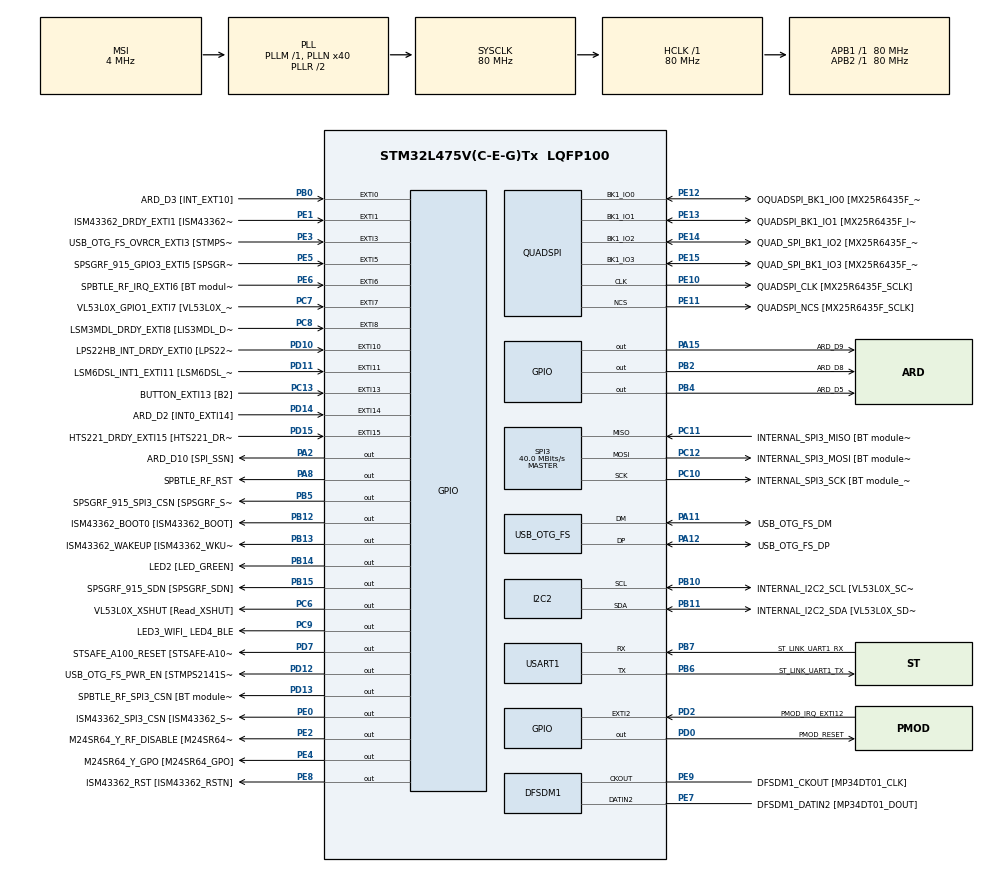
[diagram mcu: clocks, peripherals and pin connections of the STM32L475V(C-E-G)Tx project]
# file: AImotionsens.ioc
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FREERTOS.Queues01=PrintQ,10,uint32_t,0,Dynamic,NULL,NULL
FREERTOS.Tasks01=defaultTask,24,128,StartDefaultTask,Default,NULL,Dynamic,NULL,NULL;printTask,8,128,printData,Default,NULL,Dynamic,NULL,NULL
Mcu.Family=STM32L4
Mcu.Name=STM32L475V(C-E-G)Tx
Mcu.Package=LQFP100
NVIC.EXTI15_10_IRQn=true\:5\:0\:false\:false\:true\:true\:true\:true\:true
NVIC.EXTI9_5_IRQn=true\:5\:0\:false\:false\:true\:true\:true\:true\:true
NVIC.PriorityGroup=NVIC_PRIORITYGROUP_4
PA0.GPIO_Label=ARD_D1 [UART4_TX]
PA0.Signal=UART4_TX
PA1.GPIO_Label=ARD_D0 [UART4_RX]
PA1.Signal=UART4_RX
PA10.GPIO_Label=USB_OTG_FS_ID
PA10.Signal=USB_OTG_FS_ID
PA11.GPIO_Label=USB_OTG_FS_DM
PA11.Mode=Device_Only
PA11.Signal=USB_OTG_FS_DM
PA12.GPIO_Label=USB_OTG_FS_DP
PA12.Mode=Device_Only
PA12.Signal=USB_OTG_FS_DP
PA13\ (JTMS-SWDIO).GPIO_Label=SYS_JTMS_SWDIO
PA13\ (JTMS-SWDIO).Mode=Serial_Wire
PA13\ (JTMS-SWDIO).Signal=SYS_JTMS-SWDIO
PA14\ (JTCK-SWCLK).GPIO_Label=SYS_JTCK_SWCLK
PA14\ (JTCK-SWCLK).Mode=Serial_Wire
PA14\ (JTCK-SWCLK).Signal=SYS_JTCK-SWCLK
PA15\ (JTDI).GPIO_Label=ARD_D9
PA15\ (JTDI).Signal=GPIO_Output
PA2.GPIO_Label=ARD_D10 [SPI_SSN]
PA2.Signal=GPIO_Output
PA3.GPIO_Label=ARD_D4
PA3.Signal=S_TIM2_CH4
PA4.GPIO_Label=ARD_D7
PA4.Signal=ADCx_IN9
PA5.GPIO_Label=ARD_D13 [SPI1_SCK]
PA5.Signal=SPI1_SCK
PA6.GPIO_Label=ARD_D12 [SPI1_MISO]
PA6.Signal=SPI1_MISO
PA7.GPIO_Label=ARD_D11 [SPI1_MOSI]
PA7.Signal=SPI1_MOSI
PA8.GPIO_Label=SPBTLE_RF_RST
PA8.Signal=GPIO_Output
PA9.GPIO_Label=USB_OTG_FS_VBUS [STMPS2141STR_OUT]
PA9.Signal=USB_OTG_FS_VBUS
PB0.GPIO_Label=ARD_D3 [INT_EXT10]
PB0.Signal=GPXTI0
PB1.GPIO_Label=ARD_D6 [ADC1_IN6]
PB1.Signal=ADCx_IN16
PB10.GPIO_Label=INTERNAL_I2C2_SCL [VL53L0X_SCL]
PB10.GPIO_Pu=GPIO_PULLUP
PB10.Mode=I2C
PB10.Signal=I2C2_SCL
PB11.GPIO_Label=INTERNAL_I2C2_SDA [VL53L0X_SDA]
PB11.GPIO_Pu=GPIO_PULLUP
PB11.Mode=I2C
PB11.Signal=I2C2_SDA
PB12.GPIO_Label=ISM43362_BOOT0 [ISM43362_BOOT]
PB12.Signal=GPIO_Output
PB13.GPIO_Label=ISM43362_WAKEUP [ISM43362_WKUP]
PB13.Signal=GPIO_Output
PB14.GPIO_Label=LED2 [LED_GREEN]
PB14.Signal=GPIO_Output
PB15.GPIO_Label=SPSGRF_915_SDN [SPSGRF_SDN]
PB15.Signal=GPIO_Output
PB2.GPIO_Label=ARD_D8
PB2.Signal=GPIO_Output
PB3\ (JTDO-TRACESWO).GPIO_Label=SYS_JTD0_SWO
PB3\ (JTDO-TRACESWO).Signal=SYS_JTDO-SWO
PB4\ (NJTRST).GPIO_Label=ARD_D5
PB4\ (NJTRST).Signal=GPIO_Output
PB5.GPIO_Label=SPSGRF_915_SPI3_CSN [SPSGRF_SPI_CS]
PB5.PinState=GPIO_PIN_SET
PB5.Signal=GPIO_Output
PB6.GPIO_Label=ST_LINK_UART1_TX
PB6.Mode=Asynchronous
PB6.Signal=USART1_TX
PB7.GPIO_Label=ST_LINK_UART1_RX
PB7.Mode=Asynchronous
PB7.Signal=USART1_RX
PB8.GPIO_Label=ARD_D15 [I2C1_SCL]
PB8.Signal=I2C1_SCL
PB9.GPIO_Label=ARD_D14 [I2C1_SDA]
PB9.Signal=I2C1_SDA
PC0.GPIO_Label=ARD_A5 [ADC]
PC0.Signal=ADCx_IN1
PC1.GPIO_Label=ARD_A4 [ADC]
PC1.Signal=ADCx_IN2
PC10.GPIO_Label=INTERNAL_SPI3_SCK [BT module_SPI_SCLK] [ISM43362_SCK]
PC10.Mode=Full_Duplex_Master
PC10.Signal=SPI3_SCK
PC11.GPIO_Label=INTERNAL_SPI3_MISO [BT module_SPI_MISO] [ISM43362_MISO]
PC11.Mode=Full_Duplex_Master
PC11.Signal=SPI3_MISO
PC12.GPIO_Label=INTERNAL_SPI3_MOSI [BT module_SPI_MOSI] [ISM43362_MOSI]
PC12.Mode=Full_Duplex_Master
PC12.Signal=SPI3_MOSI
PC13.GPIO_Label=BUTTON_EXTI13 [B2]
PC13.GPIO_ModeDefaultEXTI=GPIO_MODE_IT_FALLING
PC13.Signal=GPXTI13
PC14-OSC32_IN\ (PC14).Mode=LSE-External-Oscillator
PC14-OSC32_IN\ (PC14).Signal=RCC_OSC32_IN
PC15-OSC32_OUT\ (PC15).Mode=LSE-External-Oscillator
PC15-OSC32_OUT\ (PC15).Signal=RCC_OSC32_OUT
PC2.GPIO_Label=ARD_A3 [ADC]
PC2.Signal=ADCx_IN3
PC3.GPIO_Label=ARD_A2 [ADC]
PC3.Signal=ADCx_IN4
PC4.GPIO_Label=ARD_A1 [ADC]
PC4.Signal=ADCx_IN13
PC5.GPIO_Label=ARD_A0 [ADC]
PC5.Signal=ADCx_IN14
PC6.GPIO_Label=VL53L0X_XSHUT [Read_XSHUT]
PC6.Signal=GPIO_Output
PC7.GPIO_Label=VL53L0X_GPIO1_EXTI7 [VL53L0X_GPIO1]
PC7.Signal=GPXTI7
PC8.GPIO_Label=LSM3MDL_DRDY_EXTI8 [LIS3MDL_DRDY]
PC8.Signal=GPXTI8
PC9.GPIO_Label=LED3_WIFI_ LED4_BLE
PC9.Signal=GPIO_Output
PD0.GPIO_Label=PMOD_RESET
PD0.Signal=GPIO_Output
PD1.GPIO_Label=PMOD_SPI2_SCK
PD1.Signal=SPI2_SCK
PD10.GPIO_Label=LPS22HB_INT_DRDY_EXTI0 [LPS22HB_INT_DRDY] 
PD10.Signal=GPXTI10
PD11.GPIO_Label=LSM6DSL_INT1_EXTI11 [LSM6DSL_INT1]
PD11.Signal=GPXTI11
PD12.GPIO_Label=USB_OTG_FS_PWR_EN [STMPS2141STR_EN]
PD12.Signal=GPIO_Output
PD13.GPIO_Label=SPBTLE_RF_SPI3_CSN [BT module_SPI_CS]
PD13.PinState=GPIO_PIN_SET
PD13.Signal=GPIO_Output
PD14.GPIO_Label=ARD_D2 [INT0_EXTI14]
PD14.Signal=GPXTI14
PD15.GPIO_Label=HTS221_DRDY_EXTI15 [HTS221_DRDY]
PD15.Signal=GPXTI15
PD2.GPIO_Label=PMOD_IRQ_EXTI12
PD2.Signal=GPXTI2
PD3.GPIO_Label=PMOD_UART2_CTS
PD3.Signal=USART2_CTS
PD4.GPIO_Label=PMOD_UART2_RTS
PD4.Signal=USART2_RTS
PD5.GPIO_Label=PMOD_UART2_TX
PD5.Signal=USART2_TX
PD6.GPIO_Label=PMOD_UART2_RX
PD6.Signal=USART2_RX
PD7.GPIO_Label=STSAFE_A100_RESET [STSAFE-A100_RESET]
PD7.Signal=GPIO_Output
PD8.GPIO_Label=INTERNAL_UART3_TX [ISM43362_RX]
PD8.Signal=USART3_TX
PD9.GPIO_Label=INTERNAL_UART3_RX [ISM43362_TX]
PD9.Signal=USART3_RX
PE0.GPIO_Label=ISM43362_SPI3_CSN [ISM43362_SSN]
PE0.PinState=GPIO_PIN_SET
PE0.Signal=GPIO_Output
PE1.GPIO_Label=ISM43362_DRDY_EXTI1 [ISM43362_DATARDY]
PE1.Signal=GPXTI1
PE10.GPIO_Label=QUADSPI_CLK [MX25R6435F_SCLK]
PE10.Mode=Single Bank
PE10.Signal=QUADSPI_CLK
PE11.GPIO_Label=QUADSPI_NCS [MX25R6435F_SCLK]
PE11.Mode=Single Bank
PE11.Signal=QUADSPI_NCS
PE12.GPIO_Label=OQUADSPI_BK1_IO0 [MX25R6435F_IO0]
PE12.Mode=Single Bank
PE12.Signal=QUADSPI_BK1_IO0
PE13.GPIO_Label=QUADSPI_BK1_IO1 [MX25R6435F_IO1]
PE13.Mode=Single Bank
PE13.Signal=QUADSPI_BK1_IO1
PE14.GPIO_Label=QUAD_SPI_BK1_IO2 [MX25R6435F_IO2]
PE14.Mode=Single Bank
PE14.Signal=QUADSPI_BK1_IO2
PE15.GPIO_Label=QUAD_SPI_BK1_IO3 [MX25R6435F_IO3]
PE15.Mode=Single Bank
PE15.Signal=QUADSPI_BK1_IO3
PE2.GPIO_Label=M24SR64_Y_RF_DISABLE [M24SR64_RFDIS]
PE2.Signal=GPIO_Output
PE3.GPIO_Label=USB_OTG_FS_OVRCR_EXTI3 [STMPS2141STR_FAULT]
PE3.Signal=GPXTI3
PE4.GPIO_Label=M24SR64_Y_GPO [M24SR64_GPO]
PE4.Signal=GPIO_Output
PE5.GPIO_Label=SPSGRF_915_GPIO3_EXTI5 [SPSGRF_GPIO_3]
PE5.Signal=GPXTI5
PE6.GPIO_Label=SPBTLE_RF_IRQ_EXTI6 [BT module_SPI_IRQ]
PE6.Signal=GPXTI6
PE7.GPIO_Label=DFSDM1_DATIN2 [MP34DT01_DOUT]
PE7.Signal=S_DATAIN2DFSDM1
PE8.GPIO_Label=ISM43362_RST [ISM43362_RSTN]
PE8.Signal=GPIO_Output
PE9.GPIO_Label=DFSDM1_CKOUT [MP34DT01_CLK]
PE9.Signal=S_CKOUTDFSDM1
ProjectManager.HeapSize=0x200
ProjectManager.StackSize=0x400
ProjectManager.TargetToolchain=STM32CubeIDE
QUADSPI.ClockPrescaler=2
QUADSPI.FifoThreshold=4
QUADSPI.FlashSize=23
QUADSPI.SampleShifting=QSPI_SAMPLE_SHIFTING_HALFCYCLE
RCC.ADCFreq_Value=48000000
RCC.AHBFreq_Value=80000000
RCC.APB1Freq_Value=80000000
RCC.APB1TimFreq_Value=80000000
RCC.APB2Freq_Value=80000000
RCC.APB2TimFreq_Value=80000000
RCC.CortexFreq_Value=80000000
RCC.HCLKFreq_Value=80000000
RCC.HSE_VALUE=8000000
RCC.HSI_VALUE=16000000
RCC.MSI_VALUE=4000000
RCC.PLLN=40
RCC.PLLSAI1N=24
RCC.SYSCLKFreq_VALUE=80000000
RCC.SYSCLKSource=RCC_SYSCLKSOURCE_PLLCLK
RCC.USBFreq_Value=48000000
RCC.VCOOutputFreq_Value=160000000
SH.ADCx_IN1.0=ADC1_IN1
SH.ADCx_IN13.0=ADC1_IN13
SH.ADCx_IN14.0=ADC1_IN14
SH.ADCx_IN16.0=ADC1_IN16
SH.ADCx_IN2.0=ADC1_IN2
SH.ADCx_IN3.0=ADC1_IN3
SH.ADCx_IN4.0=ADC1_IN4
SH.ADCx_IN9.0=ADC1_IN9
SH.S_CKOUTDFSDM1.0=DFSDM1_CKOUT,CKOUT
SH.S_CKOUTDFSDM1.1=DFSDM1_CKOUT,PDM_SPI_Input_from_ch12_and_Internal_Clock
SH.S_DATAIN2DFSDM1.0=DFSDM1_DATIN2,PDM_SPI_Input_from_ch12_and_Internal_Clock
SH.S_TIM2_CH4.0=TIM2_CH4
SPI3.CalculateBaudRate=40.0 MBits/s
SPI3.Direction=SPI_DIRECTION_2LINES
SPI3.Mode=SPI_MODE_MASTER
SPI3.VirtualType=VM_MASTER
STMicroelectronics.X-CUBE-AI.7.2.0.ActivationBufferSizeList=1708
STMicroelectronics.X-CUBE-AI.7.2.0.ActivationBuffers=pool0
STMicroelectronics.X-CUBE-AI.7.2.0.ActivationNames=pool0
STMicroelectronics.X-CUBE-AI.7.2.0.ActivationSizes=AI_NETWORK_DATA_ACTIVATION_1_SIZE
STMicroelectronics.X-CUBE-AI.7.2.0.HeapSize=0x800
STMicroelectronics.X-CUBE-AI.7.2.0.InternalRamActivationBufferMaxSize=AI_NETWORK_DATA_ACTIVATIONS_SIZE
STMicroelectronics.X-CUBE-AI.7.2.0.LatestDirectoryUsed-ffb35ee00022bfd31e505e046ba00e29fef1f60ad6f9fc7e8e854b788d2a41cf=C\:\\Users\\School\\Downloads
STMicroelectronics.X-CUBE-AI.7.2.0.MaximumNumberOfInputLayer=1
STMicroelectronics.X-CUBE-AI.7.2.0.MaximumNumberOfOutputLayer=1
STMicroelectronics.X-CUBE-AI.7.2.0.MaximumSizeOfInputLayer=1
STMicroelectronics.X-CUBE-AI.7.2.0.MaximumSizeOfOutputLayer=1
STMicroelectronics.X-CUBE-AI.7.2.0.ModelActualCompression-ffb35ee00022bfd31e505e046ba00e29fef1f60ad6f9fc7e8e854b788d2a41cf=0.0
STMicroelectronics.X-CUBE-AI.7.2.0.ModelCompression-ffb35ee00022bfd31e505e046ba00e29fef1f60ad6f9fc7e8e854b788d2a41cf=None
STMicroelectronics.X-CUBE-AI.7.2.0.ModelFlashOccupation-ffb35ee00022bfd31e505e046ba00e29fef1f60ad6f9fc7e8e854b788d2a41cf=48300
STMicroelectronics.X-CUBE-AI.7.2.0.ModelHashList=ffb35ee00022bfd31e505e046ba00e29fef1f60ad6f9fc7e8e854b788d2a41cf
STMicroelectronics.X-CUBE-AI.7.2.0.ModelKind-ffb35ee00022bfd31e505e046ba00e29fef1f60ad6f9fc7e8e854b788d2a41cf=KERAS
STMicroelectronics.X-CUBE-AI.7.2.0.ModelMacc-ffb35ee00022bfd31e505e046ba00e29fef1f60ad6f9fc7e8e854b788d2a41cf=24120
STMicroelectronics.X-CUBE-AI.7.2.0.ModelName-ffb35ee00022bfd31e505e046ba00e29fef1f60ad6f9fc7e8e854b788d2a41cf=network
STMicroelectronics.X-CUBE-AI.7.2.0.ModelNameList=network
STMicroelectronics.X-CUBE-AI.7.2.0.ModelRamOccupation-ffb35ee00022bfd31e505e046ba00e29fef1f60ad6f9fc7e8e854b788d2a41cf=1708
STMicroelectronics.X-CUBE-AI.7.2.0.ModelStructureFile-ffb35ee00022bfd31e505e046ba00e29fef1f60ad6f9fc7e8e854b788d2a41cf=C\:\\Users\\School\\Downloads\\model.h5
STMicroelectronics.X-CUBE-AI.7.2.0.ModelType-ffb35ee00022bfd31e505e046ba00e29fef1f60ad6f9fc7e8e854b788d2a41cf=Saved model
STMicroelectronics.X-CUBE-AI.7.2.0.ReadyForCodeGeneration=true
STMicroelectronics.X-CUBE-AI.7.2.0.StackSize=0x800
STMicroelectronics.X-CUBE-AI.7.2.0.WorkingBufferStartAddrList=0xFFFFFFFF
STMicroelectronics.X-CUBE-AI.7.2.0.XAaCUBEAaAICcArtificialOoIntelligenceJjCore=true
STMicroelectronics.X-CUBE-AI.7.2.0.copyWeightToRam=false
STMicroelectronics.X-CUBE-AI.7.2.0.customLayerConfigEnabled=false
STMicroelectronics.X-CUBE-AI.7.2.0.noOnnxIoTranspose=false
STMicroelectronics.X-CUBE-AI.7.2.0.useInputAllocation=true
STMicroelectronics.X-CUBE-AI.7.2.0.useOutputAllocation=true
USART1.VirtualMode-Asynchronous=VM_ASYNC
USB_OTG_FS.VirtualMode=Device_Only
VP_CRC_VS_CRC.Mode=CRC_Activate
VP_FREERTOS_VS_CMSIS_V2.Mode=CMSIS_V2
VP_STMicroelectronics.X-CUBE-AI_VS_ArtificialOoIntelligenceJjXAaCUBEAaAI_7.2.0.Mode=ArtificialOoIntelligenceJjXAaCUBEAaAI
board=B-L475E-IOT01A1

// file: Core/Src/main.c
/* USER CODE BEGIN Header */
/**
  ******************************************************************************
  * @file           : main.c
  * @brief          : Main program body
  ******************************************************************************
  * @attention
  *
  * Copyright (c) 2024 STMicroelectronics.
  * All rights reserved.
  *
  * This software is licensed under terms that can be found in the LICENSE file
  * in the root directory of this software component.
  * If no LICENSE file comes with this software, it is provided AS-IS.
  *
  ******************************************************************************
  */
/* USER CODE END Header */
#include "main.h"
#include "cmsis_os.h"

/* USER CODE BEGIN Includes */

#include "ai_platform.h"
#include "network.h"
#include "network_data.h"
#include <stdio.h>
#include "../../Drivers/B-L475E-IOT01/stm32l475e_iot01_accelero.h"
/* USER CODE END Includes */

CRC_HandleTypeDef hcrc;

DFSDM_Channel_HandleTypeDef hdfsdm1_channel1;

I2C_HandleTypeDef hi2c2;

QSPI_HandleTypeDef hqspi;

SPI_HandleTypeDef hspi3;

UART_HandleTypeDef huart1;

PCD_HandleTypeDef hpcd_USB_OTG_FS;

/* Definitions for defaultTask */
osThreadId_t defaultTaskHandle;
const osThreadAttr_t defaultTask_attributes = {
  .name = "defaultTask",
  .stack_size = 128 * 4,
  .priority = (osPriority_t) osPriorityNormal,
};
/* Definitions for printTask */
osThreadId_t printTaskHandle;
const osThreadAttr_t printTask_attributes = {
  .name = "printTask",
  .stack_size = 128 * 4,
  .priority = (osPriority_t) osPriorityLow,
};
/* Definitions for PrintQ */
osMessageQueueId_t PrintQHandle;
const osMessageQueueAttr_t PrintQ_attributes = {
  .name = "PrintQ"
};
/* USER CODE BEGIN PV */
volatile uint32_t dataRdyIntReceived;
ai_handle network;
float aiInData[AI_NETWORK_IN_1_SIZE];
float aiOutData[AI_NETWORK_OUT_1_SIZE];
ai_u8 activations[AI_NETWORK_DATA_ACTIVATIONS_SIZE];
const char* activities[AI_NETWORK_OUT_1_SIZE] = {
  "stationary", "walking", "running"
};
ai_buffer * ai_input;
ai_buffer * ai_output;
uint16_t acc_value[3] = {0, 0, 0};
uint32_t write_index = 0;
uint32_t class;
/* USER CODE END PV */

void SystemClock_Config(void);
static void MX_GPIO_Init(void);
static void MX_DFSDM1_Init(void);
static void MX_I2C2_Init(void);
static void MX_QUADSPI_Init(void);
static void MX_SPI3_Init(void);
static void MX_USART1_UART_Init(void);
static void MX_USB_OTG_FS_PCD_Init(void);
static void MX_CRC_Init(void);
void StartDefaultTask(void *argument);
void printData(void *argument);

/* USER CODE BEGIN PFP */
static void AI_Init(void);
static void AI_Run(float *pIn, float *pOut);
static uint32_t argmax(const float * values, uint32_t len);
/* USER CODE END PFP */

/* USER CODE BEGIN 0 */
int _write(int file, char *ptr, int len) {

 for (int i = 0; i < len; i++) {

 ITM_SendChar((*ptr++));

 }

 return len;

}
/* USER CODE END 0 */

int main(void)
{

  /* USER CODE BEGIN 1 */
	  uint32_t write_index = 0;
  /* USER CODE END 1 */

  /* MCU Configuration--------------------------------------------------------*/

  /* Reset of all peripherals, Initializes the Flash interface and the Systick. */
  HAL_Init();

  /* Configure the system clock */
  SystemClock_Config();

  /* Initialize all configured peripherals */
  MX_GPIO_Init();
  MX_DFSDM1_Init();
  MX_I2C2_Init();
  MX_QUADSPI_Init();
  MX_SPI3_Init();
  MX_USART1_UART_Init();
  MX_USB_OTG_FS_PCD_Init();
  MX_CRC_Init();
  /* USER CODE BEGIN 2 */

  dataRdyIntReceived = 0;
    uint8_t msg8[] = "=====> Accelerometer sensor LSM6DSL initialized \r\n ";

      AI_Init();
      BSP_ACCELERO_Init();
      HAL_UART_Transmit(&huart1,msg8,sizeof(msg8),1000);
  /* USER CODE END 2 */

  /* Init scheduler */
  osKernelInitialize();

  /* Create the queue(s) */
  /* creation of PrintQ */
  PrintQHandle = osMessageQueueNew (10, sizeof(uint32_t), &PrintQ_attributes);

  /* Create the thread(s) */
  /* creation of defaultTask */
  defaultTaskHandle = osThreadNew(StartDefaultTask, NULL, &defaultTask_attributes);

  /* creation of printTask */
  printTaskHandle = osThreadNew(printData, NULL, &printTask_attributes);

  /* Start scheduler */
  osKernelStart();

  /* We should never get here as control is now taken by the scheduler */

  /* Infinite loop */
  while (1)
  {

  }
}

void SystemClock_Config(void)
{
  RCC_OscInitTypeDef RCC_OscInitStruct = {0};
  RCC_ClkInitTypeDef RCC_ClkInitStruct = {0};

  /** Configure the main internal regulator output voltage
  */
  if (HAL_PWREx_ControlVoltageScaling(PWR_REGULATOR_VOLTAGE_SCALE1) != HAL_OK)
  {
    Error_Handler();
  }

  /** Configure LSE Drive Capability
  */
  HAL_PWR_EnableBkUpAccess();
  __HAL_RCC_LSEDRIVE_CONFIG(RCC_LSEDRIVE_LOW);

  /** Initializes the RCC Oscillators according to the specified parameters
  * in the RCC_OscInitTypeDef structure.
  */
  RCC_OscInitStruct.OscillatorType = RCC_OSCILLATORTYPE_LSE|RCC_OSCILLATORTYPE_MSI;
  RCC_OscInitStruct.LSEState = RCC_LSE_ON;
  RCC_OscInitStruct.MSIState = RCC_MSI_ON;
  RCC_OscInitStruct.MSICalibrationValue = 0;
  RCC_OscInitStruct.MSIClockRange = RCC_MSIRANGE_6;
  RCC_OscInitStruct.PLL.PLLState = RCC_PLL_ON;
  RCC_OscInitStruct.PLL.PLLSource = RCC_PLLSOURCE_MSI;
  RCC_OscInitStruct.PLL.PLLM = 1;
  RCC_OscInitStruct.PLL.PLLN = 40;
  RCC_OscInitStruct.PLL.PLLP = RCC_PLLP_DIV7;
  RCC_OscInitStruct.PLL.PLLQ = RCC_PLLQ_DIV2;
  RCC_OscInitStruct.PLL.PLLR = RCC_PLLR_DIV2;
  if (HAL_RCC_OscConfig(&RCC_OscInitStruct) != HAL_OK)
  {
    Error_Handler();
  }

  /** Initializes the CPU, AHB and APB buses clocks
  */
  RCC_ClkInitStruct.ClockType = RCC_CLOCKTYPE_HCLK|RCC_CLOCKTYPE_SYSCLK
                              |RCC_CLOCKTYPE_PCLK1|RCC_CLOCKTYPE_PCLK2;
  RCC_ClkInitStruct.SYSCLKSource = RCC_SYSCLKSOURCE_PLLCLK;
  RCC_ClkInitStruct.AHBCLKDivider = RCC_SYSCLK_DIV1;
  RCC_ClkInitStruct.APB1CLKDivider = RCC_HCLK_DIV1;
  RCC_ClkInitStruct.APB2CLKDivider = RCC_HCLK_DIV1;

  if (HAL_RCC_ClockConfig(&RCC_ClkInitStruct, FLASH_LATENCY_4) != HAL_OK)
  {
    Error_Handler();
  }

  /** Enable MSI Auto calibration
  */
  HAL_RCCEx_EnableMSIPLLMode();
}

static void MX_CRC_Init(void)
{

  hcrc.Instance = CRC;
  hcrc.Init.DefaultPolynomialUse = DEFAULT_POLYNOMIAL_ENABLE;
  hcrc.Init.DefaultInitValueUse = DEFAULT_INIT_VALUE_ENABLE;
  hcrc.Init.InputDataInversionMode = CRC_INPUTDATA_INVERSION_NONE;
  hcrc.Init.OutputDataInversionMode = CRC_OUTPUTDATA_INVERSION_DISABLE;
  hcrc.InputDataFormat = CRC_INPUTDATA_FORMAT_BYTES;
  if (HAL_CRC_Init(&hcrc) != HAL_OK)
  {
    Error_Handler();
  }

}

static void MX_DFSDM1_Init(void)
{

  hdfsdm1_channel1.Instance = DFSDM1_Channel1;
  hdfsdm1_channel1.Init.OutputClock.Activation = ENABLE;
  hdfsdm1_channel1.Init.OutputClock.Selection = DFSDM_CHANNEL_OUTPUT_CLOCK_SYSTEM;
  hdfsdm1_channel1.Init.OutputClock.Divider = 2;
  hdfsdm1_channel1.Init.Input.Multiplexer = DFSDM_CHANNEL_EXTERNAL_INPUTS;
  hdfsdm1_channel1.Init.Input.DataPacking = DFSDM_CHANNEL_STANDARD_MODE;
  hdfsdm1_channel1.Init.Input.Pins = DFSDM_CHANNEL_FOLLOWING_CHANNEL_PINS;
  hdfsdm1_channel1.Init.SerialInterface.Type = DFSDM_CHANNEL_SPI_RISING;
  hdfsdm1_channel1.Init.SerialInterface.SpiClock = DFSDM_CHANNEL_SPI_CLOCK_INTERNAL;
  hdfsdm1_channel1.Init.Awd.FilterOrder = DFSDM_CHANNEL_FASTSINC_ORDER;
  hdfsdm1_channel1.Init.Awd.Oversampling = 1;
  hdfsdm1_channel1.Init.Offset = 0;
  hdfsdm1_channel1.Init.RightBitShift = 0x00;
  if (HAL_DFSDM_ChannelInit(&hdfsdm1_channel1) != HAL_OK)
  {
    Error_Handler();
  }

}

static void MX_I2C2_Init(void)
{

  hi2c2.Instance = I2C2;
  hi2c2.Init.Timing = 0x00000E14;
  hi2c2.Init.OwnAddress1 = 0;
  hi2c2.Init.AddressingMode = I2C_ADDRESSINGMODE_7BIT;
  hi2c2.Init.DualAddressMode = I2C_DUALADDRESS_DISABLE;
  hi2c2.Init.OwnAddress2 = 0;
  hi2c2.Init.OwnAddress2Masks = I2C_OA2_NOMASK;
  hi2c2.Init.GeneralCallMode = I2C_GENERALCALL_DISABLE;
  hi2c2.Init.NoStretchMode = I2C_NOSTRETCH_DISABLE;
  if (HAL_I2C_Init(&hi2c2) != HAL_OK)
  {
    Error_Handler();
  }

  /** Configure Analogue filter
  */
  if (HAL_I2CEx_ConfigAnalogFilter(&hi2c2, I2C_ANALOGFILTER_ENABLE) != HAL_OK)
  {
    Error_Handler();
  }

  /** Configure Digital filter
  */
  if (HAL_I2CEx_ConfigDigitalFilter(&hi2c2, 0) != HAL_OK)
  {
    Error_Handler();
  }

}

static void MX_QUADSPI_Init(void)
{

  /* QUADSPI parameter configuration*/
  hqspi.Instance = QUADSPI;
  hqspi.Init.ClockPrescaler = 2;
  hqspi.Init.FifoThreshold = 4;
  hqspi.Init.SampleShifting = QSPI_SAMPLE_SHIFTING_HALFCYCLE;
  hqspi.Init.FlashSize = 23;
  hqspi.Init.ChipSelectHighTime = QSPI_CS_HIGH_TIME_1_CYCLE;
  hqspi.Init.ClockMode = QSPI_CLOCK_MODE_0;
  if (HAL_QSPI_Init(&hqspi) != HAL_OK)
  {
    Error_Handler();
  }

}

static void MX_SPI3_Init(void)
{

  /* SPI3 parameter configuration*/
  hspi3.Instance = SPI3;
  hspi3.Init.Mode = SPI_MODE_MASTER;
  hspi3.Init.Direction = SPI_DIRECTION_2LINES;
  hspi3.Init.DataSize = SPI_DATASIZE_4BIT;
  hspi3.Init.CLKPolarity = SPI_POLARITY_LOW;
  hspi3.Init.CLKPhase = SPI_PHASE_1EDGE;
  hspi3.Init.NSS = SPI_NSS_SOFT;
  hspi3.Init.BaudRatePrescaler = SPI_BAUDRATEPRESCALER_2;
  hspi3.Init.FirstBit = SPI_FIRSTBIT_MSB;
  hspi3.Init.TIMode = SPI_TIMODE_DISABLE;
  hspi3.Init.CRCCalculation = SPI_CRCCALCULATION_DISABLE;
  hspi3.Init.CRCPolynomial = 7;
  hspi3.Init.CRCLength = SPI_CRC_LENGTH_DATASIZE;
  hspi3.Init.NSSPMode = SPI_NSS_PULSE_ENABLE;
  if (HAL_SPI_Init(&hspi3) != HAL_OK)
  {
    Error_Handler();
  }

}

static void MX_USART1_UART_Init(void)
{

  huart1.Instance = USART1;
  huart1.Init.BaudRate = 115200;
  huart1.Init.WordLength = UART_WORDLENGTH_8B;
  huart1.Init.StopBits = UART_STOPBITS_1;
  huart1.Init.Parity = UART_PARITY_NONE;
  huart1.Init.Mode = UART_MODE_TX_RX;
  huart1.Init.HwFlowCtl = UART_HWCONTROL_NONE;
  huart1.Init.OverSampling = UART_OVERSAMPLING_16;
  huart1.Init.OneBitSampling = UART_ONE_BIT_SAMPLE_DISABLE;
  huart1.AdvancedInit.AdvFeatureInit = UART_ADVFEATURE_NO_INIT;
  if (HAL_UART_Init(&huart1) != HAL_OK)
  {
    Error_Handler();
  }

}

static void MX_USB_OTG_FS_PCD_Init(void)
{

  hpcd_USB_OTG_FS.Instance = USB_OTG_FS;
  hpcd_USB_OTG_FS.Init.dev_endpoints = 6;
  hpcd_USB_OTG_FS.Init.speed = PCD_SPEED_FULL;
  hpcd_USB_OTG_FS.Init.phy_itface = PCD_PHY_EMBEDDED;
  hpcd_USB_OTG_FS.Init.Sof_enable = DISABLE;
  hpcd_USB_OTG_FS.Init.low_power_enable = DISABLE;
  hpcd_USB_OTG_FS.Init.lpm_enable = DISABLE;
  hpcd_USB_OTG_FS.Init.battery_charging_enable = DISABLE;
  hpcd_USB_OTG_FS.Init.use_dedicated_ep1 = DISABLE;
  hpcd_USB_OTG_FS.Init.vbus_sensing_enable = DISABLE;
  if (HAL_PCD_Init(&hpcd_USB_OTG_FS) != HAL_OK)
  {
    Error_Handler();
  }

}

static void MX_GPIO_Init(void)
{
  GPIO_InitTypeDef GPIO_InitStruct = {0};

  /* GPIO Ports Clock Enable */
  __HAL_RCC_GPIOE_CLK_ENABLE();
  __HAL_RCC_GPIOC_CLK_ENABLE();
  __HAL_RCC_GPIOA_CLK_ENABLE();
  __HAL_RCC_GPIOB_CLK_ENABLE();
  __HAL_RCC_GPIOD_CLK_ENABLE();

  /*Configure GPIO pin Output Level */
  HAL_GPIO_WritePin(GPIOE, M24SR64_Y_RF_DISABLE_Pin|M24SR64_Y_GPO_Pin|ISM43362_RST_Pin, GPIO_PIN_RESET);

  /*Configure GPIO pin Output Level */
  HAL_GPIO_WritePin(GPIOA, ARD_D10_Pin|SPBTLE_RF_RST_Pin|ARD_D9_Pin, GPIO_PIN_RESET);

  /*Configure GPIO pin Output Level */
  HAL_GPIO_WritePin(GPIOB, ARD_D8_Pin|ISM43362_BOOT0_Pin|ISM43362_WAKEUP_Pin|LED2_Pin
                          |SPSGRF_915_SDN_Pin|ARD_D5_Pin, GPIO_PIN_RESET);

  /*Configure GPIO pin Output Level */
  HAL_GPIO_WritePin(GPIOD, USB_OTG_FS_PWR_EN_Pin|PMOD_RESET_Pin|STSAFE_A100_RESET_Pin, GPIO_PIN_RESET);

  /*Configure GPIO pin Output Level */
  HAL_GPIO_WritePin(SPBTLE_RF_SPI3_CSN_GPIO_Port, SPBTLE_RF_SPI3_CSN_Pin, GPIO_PIN_SET);

  /*Configure GPIO pin Output Level */
  HAL_GPIO_WritePin(GPIOC, VL53L0X_XSHUT_Pin|LED3_WIFI__LED4_BLE_Pin, GPIO_PIN_RESET);

  /*Configure GPIO pin Output Level */
  HAL_GPIO_WritePin(SPSGRF_915_SPI3_CSN_GPIO_Port, SPSGRF_915_SPI3_CSN_Pin, GPIO_PIN_SET);

  /*Configure GPIO pin Output Level */
  HAL_GPIO_WritePin(ISM43362_SPI3_CSN_GPIO_Port, ISM43362_SPI3_CSN_Pin, GPIO_PIN_SET);

  /*Configure GPIO pins : M24SR64_Y_RF_DISABLE_Pin M24SR64_Y_GPO_Pin ISM43362_RST_Pin ISM43362_SPI3_CSN_Pin */
  GPIO_InitStruct.Pin = M24SR64_Y_RF_DISABLE_Pin|M24SR64_Y_GPO_Pin|ISM43362_RST_Pin|ISM43362_SPI3_CSN_Pin;
  GPIO_InitStruct.Mode = GPIO_MODE_OUTPUT_PP;
  GPIO_InitStruct.Pull = GPIO_NOPULL;
  GPIO_InitStruct.Speed = GPIO_SPEED_FREQ_LOW;
  HAL_GPIO_Init(GPIOE, &GPIO_InitStruct);

  /*Configure GPIO pins : USB_OTG_FS_OVRCR_EXTI3_Pin SPSGRF_915_GPIO3_EXTI5_Pin SPBTLE_RF_IRQ_EXTI6_Pin ISM43362_DRDY_EXTI1_Pin */
  GPIO_InitStruct.Pin = USB_OTG_FS_OVRCR_EXTI3_Pin|SPSGRF_915_GPIO3_EXTI5_Pin|SPBTLE_RF_IRQ_EXTI6_Pin|ISM43362_DRDY_EXTI1_Pin;
  GPIO_InitStruct.Mode = GPIO_MODE_IT_RISING;
  GPIO_InitStruct.Pull = GPIO_NOPULL;
  HAL_GPIO_Init(GPIOE, &GPIO_InitStruct);

  /*Configure GPIO pin : BUTTON_EXTI13_Pin */
  GPIO_InitStruct.Pin = BUTTON_EXTI13_Pin;
  GPIO_InitStruct.Mode = GPIO_MODE_IT_FALLING;
  GPIO_InitStruct.Pull = GPIO_NOPULL;
  HAL_GPIO_Init(BUTTON_EXTI13_GPIO_Port, &GPIO_InitStruct);

  /*Configure GPIO pins : ARD_A5_Pin ARD_A4_Pin ARD_A3_Pin ARD_A2_Pin
                           ARD_A1_Pin ARD_A0_Pin */
  GPIO_InitStruct.Pin = ARD_A5_Pin|ARD_A4_Pin|ARD_A3_Pin|ARD_A2_Pin
                          |ARD_A1_Pin|ARD_A0_Pin;
  GPIO_InitStruct.Mode = GPIO_MODE_ANALOG_ADC_CONTROL;
  GPIO_InitStruct.Pull = GPIO_NOPULL;
  HAL_GPIO_Init(GPIOC, &GPIO_InitStruct);

  /*Configure GPIO pins : ARD_D1_Pin ARD_D0_Pin */
  GPIO_InitStruct.Pin = ARD_D1_Pin|ARD_D0_Pin;
  GPIO_InitStruct.Mode = GPIO_MODE_AF_PP;
  GPIO_InitStruct.Pull = GPIO_NOPULL;
  GPIO_InitStruct.Speed = GPIO_SPEED_FREQ_VERY_HIGH;
  GPIO_InitStruct.Alternate = GPIO_AF8_UART4;
  HAL_GPIO_Init(GPIOA, &GPIO_InitStruct);

  /*Configure GPIO pins : ARD_D10_Pin SPBTLE_RF_RST_Pin ARD_D9_Pin */
  GPIO_InitStruct.Pin = ARD_D10_Pin|SPBTLE_RF_RST_Pin|ARD_D9_Pin;
  GPIO_InitStruct.Mode = GPIO_MODE_OUTPUT_PP;
  GPIO_InitStruct.Pull = GPIO_NOPULL;
  GPIO_InitStruct.Speed = GPIO_SPEED_FREQ_LOW;
  HAL_GPIO_Init(GPIOA, &GPIO_InitStruct);

  /*Configure GPIO pin : ARD_D4_Pin */
  GPIO_InitStruct.Pin = ARD_D4_Pin;
  GPIO_InitStruct.Mode = GPIO_MODE_AF_PP;
  GPIO_InitStruct.Pull = GPIO_NOPULL;
  GPIO_InitStruct.Speed = GPIO_SPEED_FREQ_LOW;
  GPIO_InitStruct.Alternate = GPIO_AF1_TIM2;
  HAL_GPIO_Init(ARD_D4_GPIO_Port, &GPIO_InitStruct);

  /*Configure GPIO pin : ARD_D7_Pin */
  GPIO_InitStruct.Pin = ARD_D7_Pin;
  GPIO_InitStruct.Mode = GPIO_MODE_ANALOG_ADC_CONTROL;
  GPIO_InitStruct.Pull = GPIO_NOPULL;
  HAL_GPIO_Init(ARD_D7_GPIO_Port, &GPIO_InitStruct);

  /*Configure GPIO pins : ARD_D13_Pin ARD_D12_Pin ARD_D11_Pin */
  GPIO_InitStruct.Pin = ARD_D13_Pin|ARD_D12_Pin|ARD_D11_Pin;
  GPIO_InitStruct.Mode = GPIO_MODE_AF_PP;
  GPIO_InitStruct.Pull = GPIO_NOPULL;
  GPIO_InitStruct.Speed = GPIO_SPEED_FREQ_VERY_HIGH;
  GPIO_InitStruct.Alternate = GPIO_AF5_SPI1;
  HAL_GPIO_Init(GPIOA, &GPIO_InitStruct);

  /*Configure GPIO pin : ARD_D3_Pin */
  GPIO_InitStruct.Pin = ARD_D3_Pin;
  GPIO_InitStruct.Mode = GPIO_MODE_IT_RISING;
  GPIO_InitStruct.Pull = GPIO_NOPULL;
  HAL_GPIO_Init(ARD_D3_GPIO_Port, &GPIO_InitStruct);

  /*Configure GPIO pin : ARD_D6_Pin */
  GPIO_InitStruct.Pin = ARD_D6_Pin;
  GPIO_InitStruct.Mode = GPIO_MODE_ANALOG_ADC_CONTROL;
  GPIO_InitStruct.Pull = GPIO_NOPULL;
  HAL_GPIO_Init(ARD_D6_GPIO_Port, &GPIO_InitStruct);

  /*Configure GPIO pins : ARD_D8_Pin ISM43362_BOOT0_Pin ISM43362_WAKEUP_Pin LED2_Pin
                           SPSGRF_915_SDN_Pin ARD_D5_Pin SPSGRF_915_SPI3_CSN_Pin */
  GPIO_InitStruct.Pin = ARD_D8_Pin|ISM43362_BOOT0_Pin|ISM43362_WAKEUP_Pin|LED2_Pin
                          |SPSGRF_915_SDN_Pin|ARD_D5_Pin|SPSGRF_915_SPI3_CSN_Pin;
  GPIO_InitStruct.Mode = GPIO_MODE_OUTPUT_PP;
  GPIO_InitStruct.Pull = GPIO_NOPULL;
  GPIO_InitStruct.Speed = GPIO_SPEED_FREQ_LOW;
  HAL_GPIO_Init(GPIOB, &GPIO_InitStruct);

  /*Configure GPIO pins : INTERNAL_UART3_TX_Pin INTERNAL_UART3_RX_Pin */
  GPIO_InitStruct.Pin = INTERNAL_UART3_TX_Pin|INTERNAL_UART3_RX_Pin;
  GPIO_InitStruct.Mode = GPIO_MODE_AF_PP;
  GPIO_InitStruct.Pull = GPIO_NOPULL;
  GPIO_InitStruct.Speed = GPIO_SPEED_FREQ_VERY_HIGH;
  GPIO_InitStruct.Alternate = GPIO_AF7_USART3;
  HAL_GPIO_Init(GPIOD, &GPIO_InitStruct);

  /*Configure GPIO pins : LPS22HB_INT_DRDY_EXTI0_Pin LSM6DSL_INT1_EXTI11_Pin ARD_D2_Pin HTS221_DRDY_EXTI15_Pin
                           PMOD_IRQ_EXTI12_Pin */
  GPIO_InitStruct.Pin = LPS22HB_INT_DRDY_EXTI0_Pin|LSM6DSL_INT1_EXTI11_Pin|ARD_D2_Pin|HTS221_DRDY_EXTI15_Pin
                          |PMOD_IRQ_EXTI12_Pin;
  GPIO_InitStruct.Mode = GPIO_MODE_IT_RISING;
  GPIO_InitStruct.Pull = GPIO_NOPULL;
  HAL_GPIO_Init(GPIOD, &GPIO_InitStruct);

  /*Configure GPIO pins : USB_OTG_FS_PWR_EN_Pin SPBTLE_RF_SPI3_CSN_Pin PMOD_RESET_Pin STSAFE_A100_RESET_Pin */
  GPIO_InitStruct.Pin = USB_OTG_FS_PWR_EN_Pin|SPBTLE_RF_SPI3_CSN_Pin|PMOD_RESET_Pin|STSAFE_A100_RESET_Pin;
  GPIO_InitStruct.Mode = GPIO_MODE_OUTPUT_PP;
  GPIO_InitStruct.Pull = GPIO_NOPULL;
  GPIO_InitStruct.Speed = GPIO_SPEED_FREQ_LOW;
  HAL_GPIO_Init(GPIOD, &GPIO_InitStruct);

  /*Configure GPIO pins : VL53L0X_XSHUT_Pin LED3_WIFI__LED4_BLE_Pin */
  GPIO_InitStruct.Pin = VL53L0X_XSHUT_Pin|LED3_WIFI__LED4_BLE_Pin;
  GPIO_InitStruct.Mode = GPIO_MODE_OUTPUT_PP;
  GPIO_InitStruct.Pull = GPIO_NOPULL;
  GPIO_InitStruct.Speed = GPIO_SPEED_FREQ_LOW;
  HAL_GPIO_Init(GPIOC, &GPIO_InitStruct);

  /*Configure GPIO pins : VL53L0X_GPIO1_EXTI7_Pin LSM3MDL_DRDY_EXTI8_Pin */
  GPIO_InitStruct.Pin = VL53L0X_GPIO1_EXTI7_Pin|LSM3MDL_DRDY_EXTI8_Pin;
  GPIO_InitStruct.Mode = GPIO_MODE_IT_RISING;
  GPIO_InitStruct.Pull = GPIO_NOPULL;
  HAL_GPIO_Init(GPIOC, &GPIO_InitStruct);

  /*Configure GPIO pin : PMOD_SPI2_SCK_Pin */
  GPIO_InitStruct.Pin = PMOD_SPI2_SCK_Pin;
  GPIO_InitStruct.Mode = GPIO_MODE_AF_PP;
  GPIO_InitStruct.Pull = GPIO_NOPULL;
  GPIO_InitStruct.Speed = GPIO_SPEED_FREQ_VERY_HIGH;
  GPIO_InitStruct.Alternate = GPIO_AF5_SPI2;
  HAL_GPIO_Init(PMOD_SPI2_SCK_GPIO_Port, &GPIO_InitStruct);

  /*Configure GPIO pins : PMOD_UART2_CTS_Pin PMOD_UART2_RTS_Pin PMOD_UART2_TX_Pin PMOD_UART2_RX_Pin */
  GPIO_InitStruct.Pin = PMOD_UART2_CTS_Pin|PMOD_UART2_RTS_Pin|PMOD_UART2_TX_Pin|PMOD_UART2_RX_Pin;
  GPIO_InitStruct.Mode = GPIO_MODE_AF_PP;
  GPIO_InitStruct.Pull = GPIO_NOPULL;
  GPIO_InitStruct.Speed = GPIO_SPEED_FREQ_VERY_HIGH;
  GPIO_InitStruct.Alternate = GPIO_AF7_USART2;
  HAL_GPIO_Init(GPIOD, &GPIO_InitStruct);

  /*Configure GPIO pins : ARD_D15_Pin ARD_D14_Pin */
  GPIO_InitStruct.Pin = ARD_D15_Pin|ARD_D14_Pin;
  GPIO_InitStruct.Mode = GPIO_MODE_AF_OD;
  GPIO_InitStruct.Pull = GPIO_NOPULL;
  GPIO_InitStruct.Speed = GPIO_SPEED_FREQ_VERY_HIGH;
  GPIO_InitStruct.Alternate = GPIO_AF4_I2C1;
  HAL_GPIO_Init(GPIOB, &GPIO_InitStruct);

  /* EXTI interrupt init*/
  HAL_NVIC_SetPriority(EXTI9_5_IRQn, 5, 0);
  HAL_NVIC_EnableIRQ(EXTI9_5_IRQn);

  HAL_NVIC_SetPriority(EXTI15_10_IRQn, 5, 0);
  HAL_NVIC_EnableIRQ(EXTI15_10_IRQn);

}

/* USER CODE BEGIN 4 */
static void AI_Init(void)
{
  ai_error err;

  /* Create a local array with the addresses of the activations buffers */
  const ai_handle act_addr[] = { activations };
  /* Create an instance of the model */
  err = ai_network_create_and_init(&network, act_addr, NULL);
  if (err.type != AI_ERROR_NONE) {
    printf("ai_network_create error - type=%d code=%d\r\n", err.type, err.code);
    Error_Handler();
  }
  ai_input = ai_network_inputs_get(network, NULL);
  ai_output = ai_network_outputs_get(network, NULL);
}

static void AI_Run(float *pIn, float *pOut)
{
  ai_i32 batch;
  ai_error err;

  /* Update IO handlers with the data payload */
  ai_input[0].data = AI_HANDLE_PTR(pIn);
  ai_output[0].data = AI_HANDLE_PTR(pOut);

  batch = ai_network_run(network, ai_input, ai_output);
  if (batch != 1) {
    err = ai_network_get_error(network);
    printf("AI ai_network_run error - type=%d code=%d\r\n", err.type, err.code);
    Error_Handler();
  }
}

static uint32_t argmax(const float * values, uint32_t len)
{
  float max_value = values[0];
  uint32_t max_index = 0;
  for (uint32_t i = 1; i < len; i++) {
    if (values[i] > max_value) {
      max_value = values[i];
      max_index = i;
    }
  }
  return max_index;
}
/* USER CODE END 4 */

void StartDefaultTask(void *argument)
{
  /* USER CODE BEGIN 5 */
  /* Infinite loop */
  for(;;)
  {

	BSP_ACCELERO_AccGetXYZ(acc_value);
	//uint8_t conf[]="Made it";
	//HAL_UART_Transmit(&huart1,conf,sizeof(conf),1000);
	aiInData[write_index + 0] = (float) acc_value[0] / 4000.0f;
	aiInData[write_index + 1] = (float) acc_value[1] / 4000.0f;
	aiInData[write_index + 2] = (float) acc_value[2] / 4000.0f;
	write_index += 3;
//	uint8_t ind[50];
//    snprintf(ind, sizeof(ind), "%d \r\n\0", write_index);
//    HAL_UART_Transmit(&huart1,ind,sizeof(ind),1000);

	      if (write_index == AI_NETWORK_IN_1_SIZE) {
	        write_index = 0;

//	    	uint8_t conf[]="Made it";
//	    	HAL_UART_Transmit(&huart1,conf,sizeof(conf),1000);
	        printf("Running inference\r\n");
	        AI_Run(aiInData, aiOutData);

	        /* Output results */
	        for (uint32_t i = 0; i < AI_NETWORK_OUT_1_SIZE; i++) {
	          uint8_t msg[20];
	          snprintf(msg, sizeof(msg), "%8.6f ", aiOutData[i]);
	          HAL_UART_Transmit(&huart1,msg,sizeof(msg),1000);
	        }
	        class = argmax(aiOutData, AI_NETWORK_OUT_1_SIZE);
//	        uint8_t msg1[50];
//	        snprintf(msg1, sizeof(msg1), ": %d - %s\r\n", (int) class, activities[class]);
//	        HAL_UART_Transmit(&huart1,msg1,sizeof(msg1),1000);
	      }
	      osDelay(1);
  }
  /* USER CODE END 5 */
}

void printData(void *argument)
{
  /* USER CODE BEGIN printData */
  /* Infinite loop */
  for(;;)
  {
      uint8_t msg1[50];
      snprintf(msg1, sizeof(msg1), ": %d - %s\r\n", (int) class, activities[class]);
      HAL_UART_Transmit(&huart1,msg1,sizeof(msg1),1000);
    osDelay(1);
  }
  /* USER CODE END printData */
}

void Error_Handler(void)
{
  __disable_irq();
  while (1)
  {
  }
}
